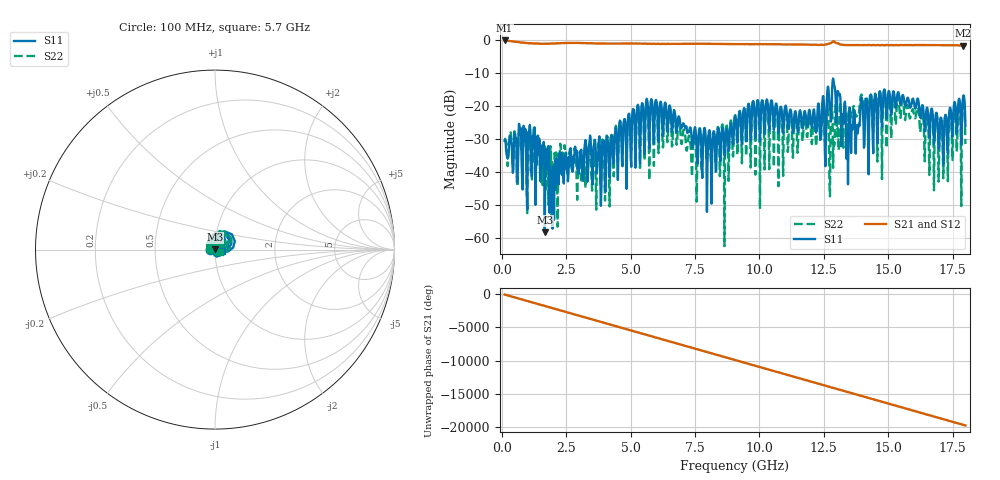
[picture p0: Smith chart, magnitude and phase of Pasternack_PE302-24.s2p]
#  HZ  S  MA  R  50.00
! Rohde & Schwarz ZVA67 4Ports - Version 4.11 - 1305.7002k04 SN: 101051
! Date: 2023-03-28 15:23:07
! Measurements: S11 S21 S12 S22
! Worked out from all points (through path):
!   896 points, 100 MHz to 18 GHz, reference 50 ohm
!   highest |S21| = -0.24 dB at 100 MHz (marker M1); lowest = -1.8 dB at 17.92 GHz (marker M2)
!   group delay of S21, straight-line fit = 3.04 ns
!   lowest |S11| = -58.4 dB at 1.66 GHz (marker M3), VSWR 1.00, Z = 50.1 + j0.0918 ohm
!   |S11| at or under -10 dB: start of sweep to end of sweep
!   |S22| runs from -62.6 to -15.5 dB; largest |S21 - S12| = 0.011
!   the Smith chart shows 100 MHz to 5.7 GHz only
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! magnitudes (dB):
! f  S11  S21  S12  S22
! 100 MHz  -30.7  -0.2  -0.2  -30.5
! 1.66 GHz  -58.4  -1.2  -1.2  -32.3
! 1.96 GHz  -57.3  -1.2  -1.1  -42.2
! 2.28 GHz  -40.6  -1.1  -1.0  -32.4
! 3.1 GHz  -37.2  -1.0  -1.0  -40.8
! 4.66 GHz  -37.4  -1.2  -1.1  -31.5
! 6.08 GHz  -31.1  -1.2  -1.2  -34.4
! 7.54 GHz  -29.8  -1.2  -1.2  -35.6
! 8.72 GHz  -27.0  -1.3  -1.3  -25.4
! 9.06 GHz  -23.2  -1.4  -1.3  -22.9
! 12.04 GHz  -26.7  -1.5  -1.5  -31.7
! 12.54 GHz  -33.5  -1.5  -1.5  -30.3
! 12.78 GHz  -24.8  -1.0  -1.0  -21.9
! 12.88 GHz  -12.5  -0.5  -0.6  -30.1
! 13.46 GHz  -28.0  -1.7  -1.7  -22.6
! 13.8 GHz  -27.4  -1.6  -1.6  -22.7
! 13.94 GHz  -18.3  -1.7  -1.7  -16.9
! 15.02 GHz  -15.6  -1.7  -1.7  -16.1
! 16.12 GHz  -18.4  -1.6  -1.6  -20.8
! 17.08 GHz  -24.7  -1.6  -1.6  -24.4
! 17.92 GHz  -16.9  -1.8  -1.8  -17.9
! 18 GHz  -26.1  -1.7  -1.7  -31.6
